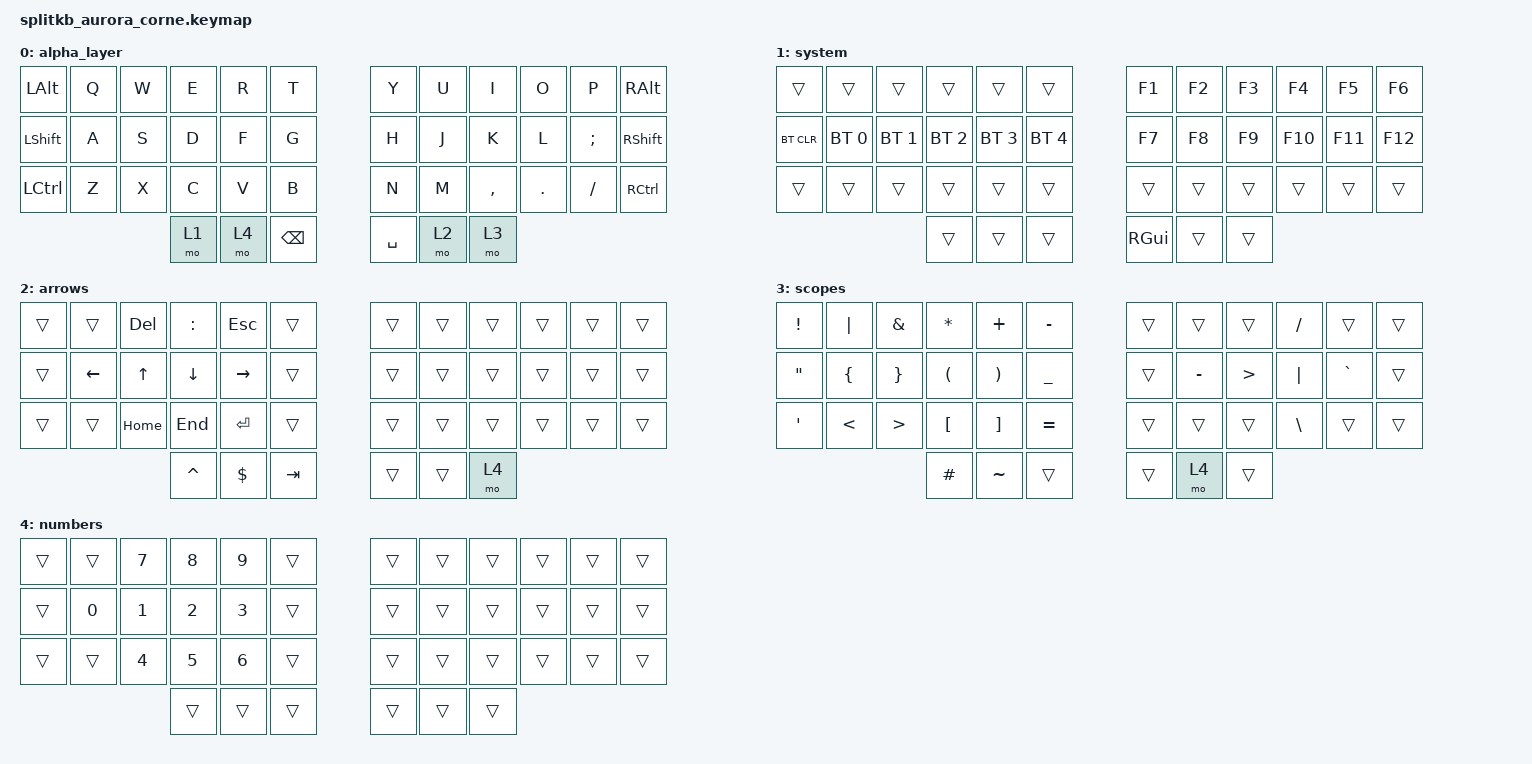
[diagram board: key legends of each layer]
/*
 * Copyright (c) 2020 The ZMK Contributors
 *
 * SPDX-License-Identifier: MIT
 */

#include <behaviors.dtsi>
#include <dt-bindings/zmk/bt.h>
#include <dt-bindings/zmk/keys.h>

/ {
    keymap {
        compatible = "zmk,keymap";

        alpha_layer {
            // -----------------------------------------------------------------------------------------
            // |  TAB |  Q  |  W  |  E  |  R  |  T  |   |  Y  |  U   |  I  |  O  |  P  | BKSP |
            // | CTRL |  A  |  S  |  D  |  F  |  G  |   |  H  |  J   |  K  |  L  |  ;  |  '   |
            // | SHFT |  Z  |  X  |  C  |  V  |  B  |   |  N  |  M   |  ,  |  .  |  /  | ESC  |
            //                    | GUI | LWR | SPC |   | ENT | RSE  | ALT |

            bindings = <
&kp LEFT_ALT    &kp Q  &kp W  &kp E  &kp R  &kp T            &kp Y      &kp U  &kp I      &kp O    &kp P     &kp RIGHT_ALT
&kp LEFT_SHIFT  &kp A  &kp S  &kp D  &kp F  &kp G            &kp H      &kp J  &kp K      &kp L    &kp SEMI  &kp RIGHT_SHIFT
&kp LCTRL       &kp Z  &kp X  &kp C  &kp V  &kp B            &kp N      &kp M  &kp COMMA  &kp DOT  &kp FSLH  &kp RCTRL
                              &mo 1  &mo 4  &kp BACKSPACE    &kp SPACE  &mo 2  &mo 3
            >;
        };

        system {
            // -----------------------------------------------------------------------------------------
            // |  TAB |  1  |  2  |  3  |  4  |  5  |   |  6  |  7  |  8  |  9  |  0  | BKSP |
            // | BTCLR| BT1 | BT2 | BT3 | BT4 | BT5 |   | LFT | DWN |  UP | RGT |     |      |
            // | SHFT |     |     |     |     |     |   |     |     |     |     |     |      |
            //                    | GUI |     | SPC |   | ENT |     | ALT |

            bindings = <
&trans      &trans        &trans        &trans        &trans        &trans          &kp F1         &kp F2  &kp F3  &kp F4   &kp F5   &kp F6
&bt BT_CLR  &bt BT_SEL 0  &bt BT_SEL 1  &bt BT_SEL 2  &bt BT_SEL 3  &bt BT_SEL 4    &kp F7         &kp F8  &kp F9  &kp F10  &kp F11  &kp F12
&trans      &trans        &trans        &trans        &trans        &trans          &trans         &trans  &trans  &trans   &trans   &trans
                                        &trans        &trans        &trans          &kp RIGHT_GUI  &trans  &trans
            >;
        };

        arrows {
            // -----------------------------------------------------------------------------------------
            // |  TAB |  !  |  @  |  #  |  $  |  %  |   |  ^  |  &  |  *  |  (  |  )  | BKSP |
            // | CTRL |     |     |     |     |     |   |  -  |  =  |  [  |  ]  |  \  |  `   |
            // | SHFT |     |     |     |     |     |   |  _  |  +  |  {  |  }  | "|" |  ~   |
            //                    | GUI |     | SPC |   | ENT |     | ALT |

            bindings = <
&trans  &trans    &kp DEL       &kp COLON       &kp ESCAPE  &trans     &trans  &trans  &trans  &trans  &trans  &trans
&trans  &kp LEFT  &kp UP_ARROW  &kp DOWN_ARROW  &kp RIGHT   &trans     &trans  &trans  &trans  &trans  &trans  &trans
&trans  &trans    &kp HOME      &kp END         &kp RETURN  &trans     &trans  &trans  &trans  &trans  &trans  &trans
                                &kp CARET       &kp DOLLAR  &kp TAB    &trans  &trans  &mo 4
            >;
        };

        scopes {
            bindings = <
&kp EXCLAMATION    &kp PIPE        &kp AMPERSAND     &kp ASTERISK          &kp PLUS               &kp MINUS         &trans  &trans     &trans            &kp SLASH      &trans     &trans
&kp DOUBLE_QUOTES  &kp LEFT_BRACE  &kp RIGHT_BRACE   &kp LEFT_PARENTHESIS  &kp RIGHT_PARENTHESIS  &kp UNDERSCORE    &trans  &kp MINUS  &kp GREATER_THAN  &kp PIPE       &kp GRAVE  &trans
&kp SQT            &kp LESS_THAN   &kp GREATER_THAN  &kp LEFT_BRACKET      &kp RIGHT_BRACKET      &kp EQUAL         &trans  &trans     &trans            &kp BACKSLASH  &trans     &trans
                                                     &kp HASH              &kp TILDE              &trans            &trans  &mo 4      &trans
            >;
        };

        numbers {
            bindings = <
&trans  &trans  &kp N7  &kp N8  &kp N9  &trans    &trans  &trans  &trans  &trans  &trans  &trans
&trans  &kp N0  &kp N1  &kp N2  &kp N3  &trans    &trans  &trans  &trans  &trans  &trans  &trans
&trans  &trans  &kp N4  &kp N5  &kp N6  &trans    &trans  &trans  &trans  &trans  &trans  &trans
                        &trans  &trans  &trans    &trans  &trans  &trans
            >;
        };
    };
};
